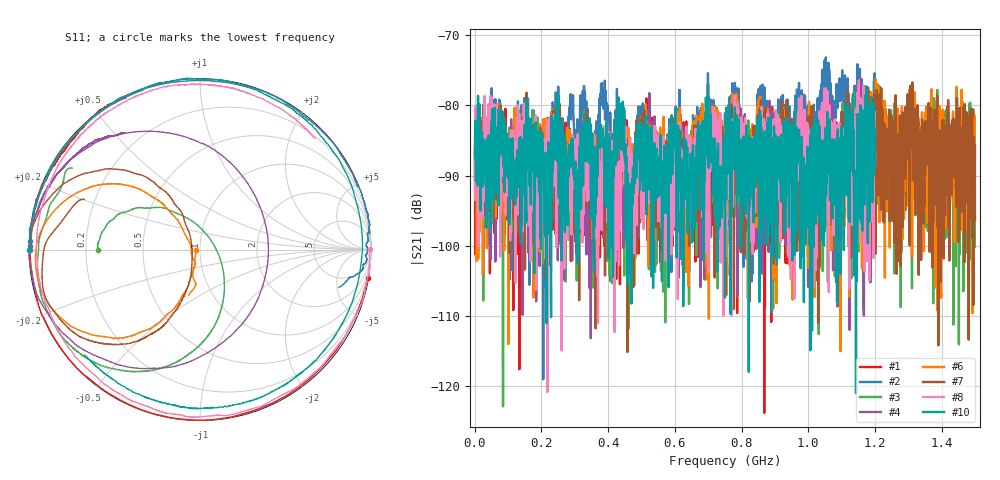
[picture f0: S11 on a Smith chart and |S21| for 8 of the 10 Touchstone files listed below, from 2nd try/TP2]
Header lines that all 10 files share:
! Anritsu VNA Master:  Model: MS2025B
! SN:  1642059
! Existing Calibration Information:
! TYPE:  Current Settings,  Active Cal Settings
! START FREQ:  1.000 MHz,  1.000 MHz
! SOURCE POWER:  Default,  Default
! IFBW:  1 kHz,  1 kHz
! AVG FACTOR:  1 ,  1
! REF PLANE 1:  0 mm,  0 mm
! REF PLANE 2:  0 mm,  0 mm
! CAL TYPE:  1P2P S11,S21,  1P2P S11,S21
! CAL METHOD:  SOLT,  SOLT
! CAL LINE TYPE:  Coax,  Coax
! DUT PORT 1:  ,
! DUT PORT 2:  N-Conn(M),  N-Conn(M)
! CAL STATUS:  OK: Accuracy High,  --
# GHZ S MA R 50.0
! FREQ.GHZ  S11M  S11A  S21M  S21A  S12M  S12A  S22M  S22A
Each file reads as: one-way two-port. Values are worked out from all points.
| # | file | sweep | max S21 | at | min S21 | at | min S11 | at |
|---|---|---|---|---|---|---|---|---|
| 1 | Cmeas.s2p | 1 MHz to 1.2 GHz | -76.99 dB | 699.4 MHz | -123.8 dB | 868 MHz | -0.2 dB | 644.8 MHz |
| 2 | Lmeas.s2p | 1 MHz to 1.2 GHz | -73.13 dB | 1.053 GHz | -119.1 dB | 205.3 MHz | -1.5 dB | 1.2 GHz |
| 3 | Matched.s2p | 1 MHz to 1.5 GHz | -77.22 dB | 1.213 GHz | -122.9 dB | 84.97 MHz | -21.6 dB | 647.6 MHz |
| 4 | RLCpar.s2p | 1 MHz to 1.2 GHz | -76.15 dB | 1.156 GHz | -113.2 dB | 348.1 MHz | -8.0 dB | 84.27 MHz |
| 5 | RLCser.s2p | 1 MHz to 1.2 GHz | -72.62 dB | 1.055 GHz | -120.8 dB | 470.5 MHz | -32.3 dB | 55.58 MHz |
| 6 | StubOC.s2p | 1 MHz to 1.5 GHz | -76.30 dB | 1.202 GHz | -115.0 dB | 1.097 GHz | -32.4 dB | 1 MHz |
| 7 | StubSC.s2p | 1 MHz to 1.5 GHz | -76.74 dB | 1.312 GHz | -115.2 dB | 457.9 MHz | -26.8 dB | 653.2 MHz |
| 8 | TLineOC.s2p | 1 MHz to 1.2 GHz | -76.43 dB | 1.152 GHz | -120.9 dB | 217.9 MHz | -0.6 dB | 1.198 GHz |
| 9 | TLineRL.s2p | 1 MHz to 1.2 GHz | -76.93 dB | 1.149 GHz | -120.1 dB | 361.4 MHz | -10.5 dB | 735 MHz |
| 10 | TLineSC.s2p | 1 MHz to 1.2 GHz | -77.11 dB | 699.4 MHz | -121.0 dB | 1.143 GHz | -0.8 dB | 1.177 GHz |
